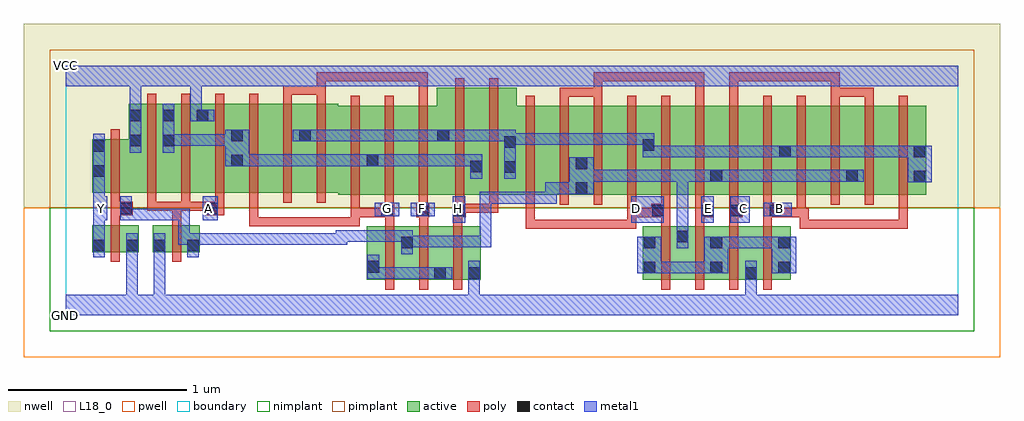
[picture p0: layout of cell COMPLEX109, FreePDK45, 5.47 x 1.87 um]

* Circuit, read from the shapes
.subckt COMPLEX109 A B C D E F G GND H VCC Y
M1 GND n1 Y VSUBS nfet w=0.15u l=0.05u
M2 n1 A GND VSUBS nfet w=0.15u l=0.05u
M3 n1 G n2 VSUBS nfet w=0.3u l=0.05u
M4 n2 F n1 VSUBS nfet w=0.3u l=0.05u
M5 GND H n2 VSUBS nfet w=0.3u l=0.05u
M6 n1 D n3 VSUBS nfet w=0.3u l=0.05u
M7 n3 E n1 VSUBS nfet w=0.3u l=0.05u
M8 GND C n3 VSUBS nfet w=0.3u l=0.05u
M9 n3 B GND VSUBS nfet w=0.3u l=0.05u
M10 VCC n1 Y n4 pfet w=0.3u l=0.05u
M11 n5 A VCC n4 pfet w=0.5u l=0.05u m=3
M12 n6 G n5 n4 pfet w=0.5u l=0.05u
M13 n7 F n6 n4 pfet w=0.5u l=0.05u
M14 n8 F n7 n4 pfet w=0.5u l=0.05u
M15 n5 G n8 n4 pfet w=0.5u l=0.05u
M16 n9 G n5 n4 pfet w=0.5u l=0.05u
M17 n7 F n9 n4 pfet w=0.5u l=0.05u
M18 n5 H n7 n4 pfet w=0.6u l=0.05u m=2
M19 n10 D n7 n4 pfet w=0.5u l=0.05u
M20 n1 E n10 n4 pfet w=0.5u l=0.05u
M21 n11 E n1 n4 pfet w=0.5u l=0.05u
M22 n7 D n11 n4 pfet w=0.5u l=0.05u
M23 n12 D n7 n4 pfet w=0.5u l=0.05u
M24 n1 E n12 n4 pfet w=0.5u l=0.05u
M25 n13 C n1 n4 pfet w=0.5u l=0.05u
M26 n7 B n13 n4 pfet w=0.5u l=0.05u
M27 n14 B n7 n4 pfet w=0.5u l=0.05u
M28 n1 C n14 n4 pfet w=0.5u l=0.05u
M29 n15 C n1 n4 pfet w=0.5u l=0.05u
M30 n7 B n15 n4 pfet w=0.5u l=0.05u
.ends

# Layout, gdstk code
import gdstk
lib = gdstk.Library(unit=1e-6, precision=1e-09)
def R(c, l, rs):  # rectangles x0, y0, x1, y1
    for r in rs: c.add(gdstk.rectangle(r[:2], r[2:], *l))
def A(c, l, x, y, w, h, nx, ny, dx, dy):  # array of equal rectangles
    R(c, l, [(x+i*dx, y+j*dy, x+i*dx+w, y+j*dy+h) for i in range(nx) for j in range(ny)])
active = (1, 0)
pwell = (2, 0)
nwell = (3, 0)
nimplant = (4, 0)
pimplant = (5, 0)
poly = (9, 0)
contact = (10, 0)
metal1 = (11, 0)
L18_0 = (18, 0)
boundary = (235, 0)

complex109 = lib.new_cell('COMPLEX109')
R(complex109, active, [(1.685,0.2,1.95,0.5), (1.685,0.2,1.76,0.5), (1.875,0.2,2.135,0.5), (2.06,0.2,2.135,0.392), (2.06,0.2,2.325,0.5), (2.25,0.2,2.325,0.5), (3.232,0.2,3.492,0.5), (3.232,0.2,3.307,0.5), (3.417,0.2,3.682,0.5), (3.607,0.2,3.877,0.5), (3.607,0.2,3.682,0.447), (3.802,0.2,4.062,0.5), (3.802,0.2,3.877,0.392), (3.987,0.207,4.062,0.5), (1.875,0.247,1.95,0.447), (3.417,0.247,3.492,0.48), (0.147,0.355,0.222,0.505), (0.147,0.355,0.407,0.505), (0.332,0.355,0.407,0.505), (0.487,0.355,0.562,0.505), (0.487,0.355,0.75,0.505), (0.675,0.355,0.75,0.505), (1.527,0.675,1.755,1.175), (1.68,0.675,1.907,1.175), (1.907,0.675,2.152,1.175), (2.077,0.675,2.337,1.275), (2.262,0.675,2.337,1.07), (2.262,0.675,2.527,1.275), (2.452,0.675,2.697,1.175), (2.452,0.675,2.527,1.2), (2.697,0.675,2.927,1.175), (2.852,0.675,3.077,1.175), (2.852,0.675,2.927,1.07), (3.077,0.675,3.302,1.175), (3.227,0.675,3.457,1.175), (3.457,0.675,3.682,1.175), (3.607,0.675,3.837,1.175), (3.607,0.675,3.682,1.07), (3.837,0.675,4.067,1.175), (3.992,0.675,4.217,1.175), (4.217,0.675,4.442,1.175), (4.367,0.675,4.597,1.175), (4.367,0.675,4.442,1.07), (4.597,0.675,4.822,1.175), (4.747,0.675,4.822,1.157), (1.68,0.682,1.755,1.07), (3.227,0.682,3.302,1.175), (3.992,0.682,4.067,1.157), (0.147,0.687,0.222,0.987), (0.147,0.687,0.427,0.987), (0.352,0.687,0.427,1.187), (0.352,0.687,0.612,1.187), (0.537,0.687,0.612,1.157), (0.537,0.687,0.802,1.187), (0.727,0.687,0.997,1.187), (0.727,0.687,0.802,1.187), (0.922,0.687,1.147,1.187), (0.922,0.687,0.997,1.157), (1.147,0.687,1.377,1.187), (1.302,0.687,1.527,1.187), (1.302,0.687,1.377,1.157), (2.077,0.807,2.152,1.2)])
R(complex109, pwell, [(-0.235,-0.235,5.235,0.602)])
R(complex109, nwell, [(-0.235,0.602,5.235,1.635)])
R(complex109, nimplant, [(-0.09,-0.09,5.09,0.602)])
R(complex109, pimplant, [(-0.09,0.602,5.09,1.49)])
A(complex109, poly, 1.79, 0.145, 0.05, 0.41, 3, 1, 0.19, 0)
A(complex109, poly, 3.337, 0.145, 0.05, 0.41, 4, 1, 0.19, 0)
A(complex109, poly, 1.79, 0.505, 0.05, 0.095, 3, 1, 0.19, 0)
A(complex109, poly, 3.337, 0.505, 0.05, 0.095, 4, 2, 0.19, 0.07)
A(complex109, poly, 0.457, 0.587, 0.05, 0.095, 3, 1, 0.19, 0)
A(complex109, poly, 1.597, 0.62, 0.05, 0.61, 3, 1, 0.19, 0)
A(complex109, poly, 2.577, 0.62, 0.05, 0.61, 12, 1, 0.19, 0)
A(complex109, poly, 0.457, 0.632, 0.05, 0.61, 6, 1, 0.19, 0)
R(complex109, poly, [(0.252,0.3,0.302,0.56), (0.595,0.3,0.645,0.56), (2.577,0.487,2.627,0.67), (2.577,0.487,2.627,0.537), (2.577,0.487,2.627,0.537), (2.577,0.487,2.627,0.537), (2.577,0.487,2.875,0.537), (2.825,0.487,2.875,0.537), (2.825,0.487,2.875,0.537), (2.825,0.487,2.875,0.537), (2.825,0.487,3.007,0.537), (2.957,0.487,3.007,0.537), (2.957,0.487,3.197,0.537), (3.147,0.487,3.197,0.6), (4.112,0.487,4.395,0.537), (4.112,0.487,4.162,0.6), (4.345,0.487,4.395,0.537), (4.345,0.487,4.395,0.537), (4.345,0.487,4.395,0.537), (4.345,0.487,4.527,0.537), (4.477,0.487,4.527,0.537), (4.477,0.487,4.717,0.537), (4.667,0.487,4.717,0.67), (4.667,0.487,4.717,0.537), (4.667,0.487,4.717,0.537), (4.667,0.487,4.717,0.537), (1.027,0.5,1.077,0.55), (1.027,0.5,1.077,0.55), (1.027,0.5,1.077,0.55), (1.027,0.5,1.077,0.682), (1.027,0.5,1.252,0.55), (1.202,0.5,1.252,0.55), (1.202,0.5,1.252,0.55), (1.202,0.5,1.252,0.55), (1.202,0.5,1.4,0.55), (1.35,0.5,1.4,0.55), (1.35,0.5,1.647,0.55), (1.597,0.5,1.647,0.6), (0.252,0.51,0.302,0.612), (0.595,0.51,0.645,0.637), (1.597,0.55,1.647,0.6), (1.597,0.55,1.647,0.6), (1.597,0.55,1.647,0.67), (1.597,0.55,1.812,0.6), (1.762,0.55,1.812,0.6), (1.762,0.55,1.812,0.6), (1.762,0.55,1.84,0.625), (1.962,0.55,2.037,0.625), (2.167,0.55,2.242,0.625), (3.147,0.55,3.197,0.6), (3.147,0.55,3.197,0.6), (3.147,0.55,3.197,0.67), (3.147,0.55,3.33,0.6), (3.28,0.55,3.33,0.6), (3.28,0.55,3.33,0.6), (3.28,0.55,3.387,0.625), (3.527,0.55,3.63,0.625), (3.717,0.55,3.792,0.625), (3.907,0.55,4.015,0.625), (3.965,0.55,4.015,0.6), (3.965,0.55,4.015,0.6), (3.965,0.55,4.147,0.6), (4.097,0.55,4.147,0.6), (4.097,0.55,4.162,0.6), (4.097,0.55,4.147,0.67), (0.252,0.562,0.375,0.637), (0.78,0.562,0.887,0.637), (1.787,0.575,1.837,0.67), (1.977,0.575,2.027,0.67), (2.182,0.575,2.232,0.67), (2.192,0.575,2.242,0.625), (2.192,0.575,2.242,0.625), (2.192,0.575,2.422,0.625), (2.372,0.575,2.422,0.625), (2.372,0.575,2.422,0.67), (0.252,0.587,0.302,0.682), (0.457,0.587,0.507,0.637), (0.457,0.587,0.645,0.637), (0.595,0.587,0.645,0.637), (0.595,0.587,0.645,0.637), (0.595,0.587,0.697,0.637), (0.647,0.587,0.83,0.637), (0.78,0.587,0.83,0.637), (0.78,0.587,0.83,0.637), (2.182,0.62,2.232,1.33), (2.372,0.62,2.422,1.33), (0.252,0.632,0.302,1.042), (1.977,1.18,2.027,1.362), (2.767,1.18,2.817,1.275), (2.957,1.18,3.007,1.275), (3.527,1.18,3.577,1.362), (3.717,1.18,3.767,1.362), (4.287,1.18,4.337,1.275), (4.477,1.18,4.527,1.275), (1.217,1.192,1.267,1.287), (1.407,1.192,1.457,1.287), (2.767,1.225,2.817,1.275), (2.767,1.225,2.817,1.275), (2.767,1.225,2.817,1.275), (2.767,1.225,3.007,1.275), (2.957,1.225,3.007,1.362), (4.287,1.225,4.337,1.275), (4.287,1.225,4.337,1.275), (4.287,1.225,4.527,1.275), (4.287,1.225,4.337,1.362), (4.477,1.225,4.527,1.275), (1.217,1.237,1.267,1.287), (1.217,1.237,1.267,1.287), (1.217,1.237,1.267,1.287), (1.217,1.237,1.457,1.287), (1.407,1.237,1.457,1.362), (1.407,1.312,1.457,1.362), (1.407,1.312,1.457,1.362), (1.407,1.312,1.68,1.362), (1.63,1.312,1.68,1.362), (1.63,1.312,1.812,1.362), (1.762,1.312,1.812,1.362), (1.762,1.312,1.812,1.362), (1.762,1.312,1.812,1.362), (1.762,1.312,2.027,1.362), (1.977,1.312,2.027,1.362), (1.977,1.312,2.027,1.362), (1.977,1.312,2.027,1.362), (2.957,1.312,3.14,1.362), (3.09,1.312,3.14,1.362), (3.09,1.312,3.14,1.362), (3.09,1.312,3.14,1.362), (3.09,1.312,3.33,1.362), (3.28,1.312,3.33,1.362), (3.28,1.312,3.33,1.362), (3.28,1.312,3.33,1.362), (3.28,1.312,3.577,1.362), (3.527,1.312,3.577,1.362), (3.527,1.312,3.577,1.362), (3.527,1.312,3.577,1.362), (3.717,1.312,3.767,1.362), (3.717,1.312,3.767,1.362), (3.717,1.312,3.767,1.362), (3.717,1.312,3.925,1.362), (3.875,1.312,3.925,1.362), (3.875,1.312,3.925,1.362), (3.875,1.312,3.925,1.362), (3.875,1.312,4.205,1.362), (4.155,1.312,4.205,1.362), (4.155,1.312,4.205,1.362), (4.155,1.312,4.205,1.362), (4.155,1.312,4.337,1.362)])
R(complex109, contact, [(2.065,0.205,2.13,0.27), (2.255,0.205,2.32,0.27), (3.807,0.205,3.872,0.27), (3.237,0.237,3.302,0.302), (3.612,0.237,3.677,0.302), (3.992,0.237,4.057,0.302), (1.69,0.24,1.755,0.305), (0.152,0.36,0.217,0.425), (0.337,0.36,0.402,0.425), (0.492,0.36,0.557,0.425), (0.68,0.36,0.745,0.425), (1.88,0.377,1.945,0.442), (3.237,0.377,3.302,0.442), (3.612,0.377,3.677,0.442), (3.992,0.377,4.057,0.442), (3.422,0.41,3.487,0.475), (1.767,0.555,1.832,0.62), (1.967,0.555,2.032,0.62), (2.172,0.555,2.237,0.62), (3.285,0.555,3.35,0.62), (3.56,0.555,3.625,0.62), (3.722,0.555,3.787,0.62), (3.945,0.555,4.01,0.62), (0.305,0.567,0.37,0.632), (0.785,0.567,0.85,0.632), (2.857,0.68,2.922,0.745), (4.752,0.747,4.817,0.812), (3.612,0.75,3.677,0.815), (4.372,0.75,4.437,0.815), (0.152,0.777,0.217,0.842), (2.457,0.8,2.522,0.865), (2.267,0.802,2.332,0.867), (2.857,0.82,2.922,0.885), (0.927,0.835,0.992,0.9), (1.685,0.837,1.75,0.902), (3.997,0.887,4.062,0.952), (4.752,0.887,4.817,0.952), (0.152,0.917,0.217,0.982), (3.232,0.922,3.297,0.987), (2.457,0.94,2.522,1.005), (0.357,0.947,0.422,1.012), (0.542,0.947,0.607,1.012), (0.927,0.975,0.992,1.04), (1.307,0.975,1.372,1.04), (2.082,0.975,2.147,1.04), (0.357,1.087,0.422,1.152), (0.542,1.087,0.607,1.152), (0.732,1.087,0.797,1.152)])
A(complex109, metal1, 0.962, 0.837, 0.203, 0.065, 3, 1, 0.275, 0)
R(complex109, metal1, [(0,0,5,0.115), (0.337,0.05,0.402,0.115), (0.337,0.05,0.402,0.115), (0.337,0.05,0.402,0.39), (0.492,0.05,0.557,0.115), (0.492,0.05,0.557,0.115), (0.492,0.05,0.557,0.39), (2.255,0.05,2.32,0.115), (2.255,0.05,2.32,0.115), (2.255,0.05,2.32,0.235), (3.807,0.05,3.872,0.115), (3.807,0.05,3.872,0.115), (3.807,0.05,3.872,0.235), (2.255,0.17,2.32,0.305), (3.807,0.17,3.872,0.305), (1.69,0.205,1.755,0.27), (1.69,0.205,1.755,0.27), (1.69,0.205,1.755,0.34), (1.69,0.205,1.957,0.27), (1.892,0.205,1.957,0.27), (1.892,0.205,1.957,0.27), (1.892,0.205,1.957,0.27), (1.892,0.205,2.095,0.27), (2.03,0.205,2.165,0.27), (3.202,0.237,3.337,0.442), (3.272,0.237,3.337,0.302), (3.272,0.237,3.337,0.302), (3.272,0.237,3.505,0.302), (3.44,0.237,3.505,0.302), (3.44,0.237,3.505,0.302), (3.44,0.237,3.505,0.302), (3.44,0.237,3.642,0.302), (3.577,0.237,3.712,0.442), (3.957,0.237,4.092,0.442), (0.152,0.325,0.217,0.46), (0.337,0.325,0.402,0.39), (0.337,0.325,0.402,0.39), (0.337,0.325,0.402,0.46), (0.492,0.325,0.557,0.39), (0.492,0.325,0.557,0.39), (0.492,0.325,0.557,0.46), (0.68,0.325,0.745,0.46), (1.88,0.342,1.945,0.477), (3.422,0.375,3.487,0.51), (3.647,0.377,3.712,0.442), (3.647,0.377,3.712,0.442), (3.647,0.377,3.85,0.442), (3.785,0.377,3.85,0.442), (3.785,0.377,4.022,0.442), (3.957,0.377,4.022,0.442), (3.957,0.377,4.022,0.442), (1.88,0.382,1.945,0.447), (1.88,0.382,1.945,0.447), (1.88,0.382,2.095,0.447), (2.03,0.382,2.095,0.447), (2.03,0.382,2.095,0.447), (2.03,0.382,2.095,0.447), (2.03,0.382,2.385,0.447), (2.32,0.382,2.385,0.447), (2.32,0.382,2.385,0.692), (0.152,0.395,0.217,0.597), (0.63,0.395,0.745,0.46), (0.63,0.395,0.695,0.597), (0.68,0.395,0.832,0.46), (0.767,0.395,0.832,0.46), (0.767,0.395,0.97,0.46), (0.905,0.395,0.97,0.46), (0.905,0.395,0.97,0.46), (0.905,0.395,0.97,0.46), (0.905,0.395,1.165,0.46), (1.1,0.395,1.165,0.46), (1.1,0.395,1.165,0.46), (1.1,0.395,1.165,0.46), (1.1,0.395,1.44,0.46), (1.375,0.395,1.44,0.46), (1.375,0.395,1.44,0.46), (1.375,0.395,1.44,0.46), (1.375,0.395,1.577,0.46), (1.512,0.395,1.577,0.46), (1.512,0.395,1.577,0.46), (1.512,0.395,1.577,0.477), (1.512,0.412,1.715,0.477), (1.65,0.412,1.715,0.477), (1.65,0.412,1.715,0.477), (1.65,0.412,1.715,0.477), (1.65,0.412,1.945,0.477), (3.422,0.445,3.487,0.51), (3.422,0.445,3.487,0.51), (3.422,0.445,3.487,0.815), (2.167,0.52,2.237,0.667), (3.167,0.52,3.35,0.667), (3.56,0.52,3.632,0.667), (3.722,0.52,3.832,0.667), (0.152,0.532,0.232,0.667), (0.305,0.532,0.37,0.597), (0.305,0.532,0.37,0.597), (0.305,0.532,0.37,0.667), (0.305,0.532,0.54,0.597), (0.475,0.532,0.54,0.597), (0.475,0.532,0.54,0.597), (0.475,0.532,0.54,0.597), (0.475,0.532,0.54,0.597), (0.475,0.532,0.54,0.597), (0.475,0.532,0.695,0.597), (0.767,0.532,0.85,0.667), (1.732,0.555,1.867,0.632), (1.932,0.555,2.067,0.632), (3.91,0.555,4.067,0.632), (0.152,0.602,0.217,0.807), (2.32,0.627,2.385,0.692), (2.32,0.627,2.385,0.692), (2.32,0.627,2.385,0.692), (2.32,0.627,2.612,0.692), (2.547,0.627,2.612,0.692), (2.547,0.627,2.612,0.692), (2.547,0.627,2.612,0.692), (2.547,0.627,2.612,0.692), (2.547,0.627,2.612,0.692), (2.547,0.627,2.75,0.692), (2.685,0.627,2.75,0.745), (2.685,0.68,2.75,0.745), (2.685,0.68,2.75,0.745), (2.685,0.68,2.887,0.745), (2.822,0.68,2.957,0.885), (0.152,0.742,0.217,1.017), (4.717,0.747,4.852,0.952), (2.892,0.75,2.957,0.815), (2.892,0.75,2.957,0.815), (2.892,0.75,3.095,0.815), (3.03,0.75,3.095,0.815), (3.03,0.75,3.095,0.815), (3.03,0.75,3.095,0.815), (3.03,0.75,3.35,0.815), (3.285,0.75,3.35,0.815), (3.285,0.75,3.35,0.815), (3.285,0.75,3.35,0.815), (3.285,0.75,3.487,0.815), (3.422,0.75,3.487,0.815), (3.422,0.75,3.487,0.815), (3.422,0.75,3.487,0.815), (3.422,0.75,3.642,0.815), (3.577,0.75,3.712,0.815), (3.647,0.75,3.712,0.815), (3.647,0.75,3.712,0.815), (3.647,0.75,3.85,0.815), (3.785,0.75,3.85,0.815), (3.785,0.75,3.85,0.815), (3.785,0.75,3.85,0.815), (3.785,0.75,4.097,0.815), (4.032,0.75,4.097,0.815), (4.032,0.75,4.235,0.815), (4.17,0.75,4.235,0.815), (4.17,0.75,4.235,0.815), (4.17,0.75,4.235,0.815), (4.17,0.75,4.402,0.815), (4.337,0.75,4.402,0.815), (4.337,0.75,4.402,0.815), (4.337,0.75,4.472,0.815), (2.457,0.765,2.522,1.04), (2.267,0.767,2.332,0.902), (0.892,0.835,1.027,1.04), (0.962,0.837,1.027,0.902), (0.962,0.837,1.027,0.902), (1.1,0.837,1.165,0.902), (1.1,0.837,1.302,0.902), (1.237,0.837,1.302,0.902), (1.237,0.837,1.302,0.902), (1.237,0.837,1.302,0.902), (1.375,0.837,1.44,0.902), (1.375,0.837,1.577,0.902), (1.512,0.837,1.577,0.902), (1.512,0.837,1.577,0.902), (1.512,0.837,1.577,0.902), (1.65,0.837,1.785,0.902), (1.72,0.837,1.785,0.902), (1.72,0.837,1.785,0.902), (1.72,0.837,1.957,0.902), (1.892,0.837,1.957,0.902), (1.892,0.837,1.957,0.902), (1.892,0.837,1.957,0.902), (1.892,0.837,2.095,0.902), (2.03,0.837,2.095,0.902), (2.03,0.837,2.095,0.902), (2.03,0.837,2.095,0.902), (2.03,0.837,2.332,0.902), (3.232,0.887,3.297,0.952), (3.232,0.887,3.297,0.952), (3.232,0.887,3.297,1.022), (3.232,0.887,3.505,0.952), (3.44,0.887,3.505,0.952), (3.44,0.887,3.505,0.952), (3.44,0.887,3.505,0.952), (3.44,0.887,3.712,0.952), (3.647,0.887,3.712,0.952), (3.647,0.887,3.712,0.952), (3.647,0.887,3.712,0.952), (3.647,0.887,3.885,0.952), (3.82,0.887,3.885,0.952), (3.82,0.887,3.885,0.952), (3.82,0.887,3.885,0.952), (3.82,0.887,4.027,0.952), (3.962,0.887,4.097,0.952), (4.032,0.887,4.265,0.952), (4.2,0.887,4.265,0.952), (4.2,0.887,4.265,0.952), (4.2,0.887,4.265,0.952), (4.2,0.887,4.507,0.952), (4.442,0.887,4.507,0.952), (4.442,0.887,4.507,0.952), (4.442,0.887,4.507,0.952), (4.442,0.887,4.645,0.952), (4.58,0.887,4.645,0.952), (4.58,0.887,4.645,0.952), (4.58,0.887,4.645,0.952), (4.58,0.887,4.782,0.952), (4.717,0.887,4.782,0.952), (4.717,0.887,4.782,0.952), (0.357,0.912,0.422,1.187), (0.542,0.912,0.607,1.187), (0.542,0.95,0.695,1.015), (0.63,0.95,0.695,1.015), (0.63,0.95,0.745,1.015), (0.68,0.95,0.745,1.015), (0.68,0.95,0.832,1.015), (0.767,0.95,0.832,1.015), (0.767,0.95,0.957,1.015), (2.457,0.957,2.522,1.022), (2.457,0.957,2.522,1.022), (2.457,0.957,2.75,1.022), (2.685,0.957,2.75,1.022), (2.685,0.957,2.75,1.022), (2.685,0.957,2.75,1.022), (2.685,0.957,2.887,1.022), (2.822,0.957,2.887,1.022), (2.822,0.957,2.887,1.022), (2.822,0.957,2.887,1.022), (2.822,0.957,3.095,1.022), (3.03,0.957,3.095,1.022), (3.03,0.957,3.095,1.022), (3.03,0.957,3.095,1.022), (3.03,0.957,3.297,1.022), (1.272,0.975,1.407,1.04), (1.342,0.975,1.44,1.04), (1.375,0.975,1.44,1.04), (1.375,0.975,1.577,1.04), (1.512,0.975,1.577,1.04), (1.512,0.975,1.577,1.04), (1.512,0.975,1.577,1.04), (1.512,0.975,1.715,1.04), (1.65,0.975,1.715,1.04), (1.65,0.975,1.715,1.04), (1.65,0.975,1.715,1.04), (1.65,0.975,1.922,1.04), (1.857,0.975,1.922,1.04), (1.857,0.975,1.922,1.04), (1.857,0.975,1.922,1.04), (1.857,0.975,2.112,1.04), (2.047,0.975,2.182,1.04), (2.117,0.975,2.182,1.04), (2.117,0.975,2.182,1.04), (2.117,0.975,2.375,1.04), (2.31,0.975,2.375,1.04), (2.31,0.975,2.375,1.04), (2.31,0.975,2.375,1.04), (2.31,0.975,2.522,1.04), (0.697,1.087,0.832,1.152), (0.697,1.087,0.762,1.35), (0.357,1.122,0.422,1.187), (0.357,1.122,0.422,1.187), (0.357,1.122,0.422,1.35), (0,1.285,5,1.4), (0.697,1.285,0.762,1.35), (0.697,1.285,0.762,1.35)])
A(complex109, L18_0, 1.767, 0.567, 0.065, 0.065, 3, 1, 0.2, 0)
A(complex109, L18_0, 3.567, 0.567, 0.065, 0.065, 3, 1, 0.2, 0)
R(complex109, L18_0, [(0,0,5,0.115), (0.337,0.05,0.402,0.115), (0.337,0.05,0.402,0.115), (0.337,0.05,0.402,0.39), (0.492,0.05,0.557,0.115), (0.492,0.05,0.557,0.115), (0.492,0.05,0.557,0.39), (2.255,0.05,2.32,0.115), (2.255,0.05,2.32,0.115), (2.255,0.05,2.32,0.235), (3.807,0.05,3.872,0.115), (3.807,0.05,3.872,0.115), (3.807,0.05,3.872,0.235), (2.255,0.17,2.32,0.305), (3.807,0.17,3.872,0.305), (0.152,0.325,0.217,0.46), (0.337,0.325,0.402,0.46), (0.337,0.325,0.402,0.39), (0.337,0.325,0.402,0.39), (0.492,0.325,0.557,0.46), (0.492,0.325,0.557,0.39), (0.492,0.325,0.557,0.39), (0.152,0.395,0.217,0.597), (2.167,0.52,2.237,0.667), (3.167,0.52,3.35,0.667), (3.56,0.52,3.632,0.667), (3.722,0.52,3.832,0.667), (0.152,0.532,0.232,0.667), (0.767,0.532,0.85,0.667), (1.732,0.555,1.867,0.632), (1.932,0.555,2.067,0.632), (3.91,0.555,4.067,0.632), (0.167,0.567,0.232,0.632), (0.767,0.567,0.832,0.632), (3.167,0.567,3.232,0.632), (0.152,0.602,0.217,0.807), (0.152,0.742,0.217,1.017), (0.357,0.912,0.422,1.187), (0.697,1.087,0.832,1.152), (0.697,1.087,0.762,1.35), (0.357,1.122,0.422,1.187), (0.357,1.122,0.422,1.187), (0.357,1.122,0.422,1.35), (0,1.285,5,1.4), (0.697,1.285,0.762,1.35), (0.697,1.285,0.762,1.35)])
R(complex109, boundary, [(0,0,5,1.4)])
complex109.add(gdstk.Label('A', (0.8,0.6), layer=11, texttype=0))
complex109.add(gdstk.Label('B', (4,0.6), layer=11, texttype=0))
complex109.add(gdstk.Label('C', (3.8,0.6), layer=11, texttype=0))
complex109.add(gdstk.Label('D', (3.2,0.6), layer=11, texttype=0))
complex109.add(gdstk.Label('E', (3.6,0.6), layer=11, texttype=0))
complex109.add(gdstk.Label('F', (2,0.6), layer=11, texttype=0))
complex109.add(gdstk.Label('G', (1.8,0.6), layer=11, texttype=0))
complex109.add(gdstk.Label('H', (2.2,0.6), layer=11, texttype=0))
complex109.add(gdstk.Label('Y', (0.2,0.6), layer=11, texttype=0))
complex109.add(gdstk.Label('VCC', (0,1.4), layer=11, texttype=0))
complex109.add(gdstk.Label('GND', (0,0), layer=11, texttype=0))

lib.write_gds('COMPLEX109.gds')
